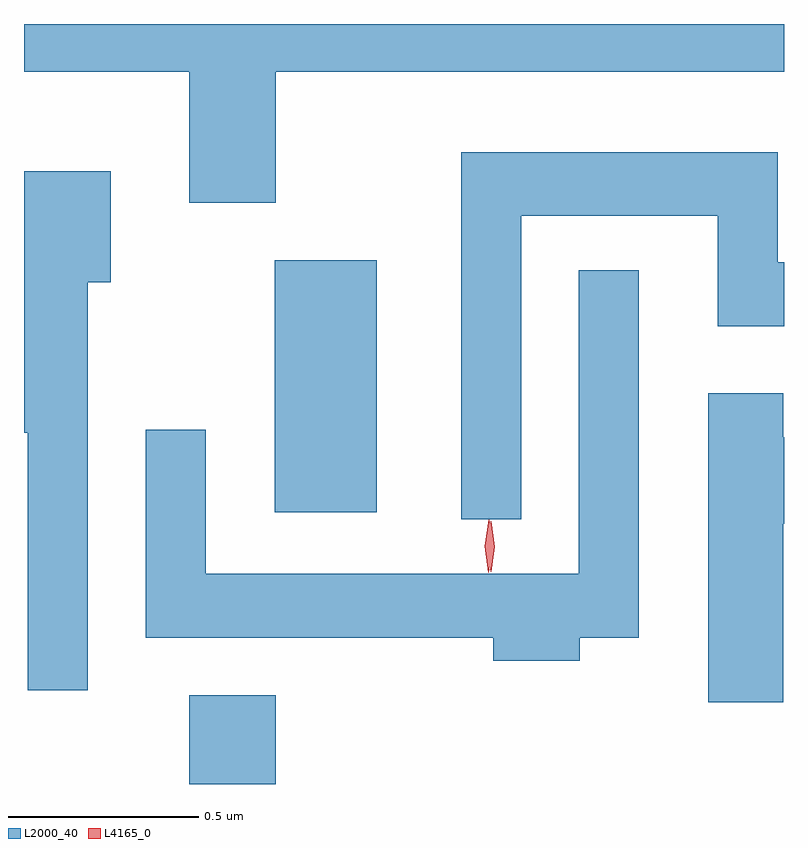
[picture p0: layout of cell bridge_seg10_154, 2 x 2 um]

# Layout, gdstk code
import gdstk
lib = gdstk.Library(unit=1e-6, precision=1e-09)
def R(c, l, rs):  # rectangles x0, y0, x1, y1
    for r in rs: c.add(gdstk.rectangle(r[:2], r[2:], *l))
def P(c, l, *ps):  # polygons
    for p in ps: c.add(gdstk.Polygon(p, *l))
L2000_40 = (2000, 40)
L4165_0 = (4165, 0)

bridge_seg10_154 = lib.new_cell('bridge_seg10_154')
R(bridge_seg10_154, L2000_40, [(1578.121,2134.241,1578.349,2134.474), (1578.346,2134.956,1578.614,2135.619)])
P(bridge_seg10_154, L2000_40, [(1578.349,2136.116),(1579.686,2136.116),(1579.686,2136.241),(1577.686,2136.241),(1577.686,2136.116),(1578.121,2136.116),(1578.121,2135.771),(1578.349,2135.771)],
  [(1578.994,2135.736),(1579.511,2135.736),(1579.511,2135.446),(1579.686,2135.446),(1579.686,2135.614),(1579.669,2135.614),(1579.669,2135.904),(1578.836,2135.904),(1578.836,2134.938),(1578.994,2134.938)],
  [(1577.854,2135.561),(1577.914,2135.561),(1577.914,2135.854),(1577.686,2135.854),(1577.686,2135.166),(1577.696,2135.166),(1577.696,2134.488),(1577.854,2134.488)],
  [(1579.149,2134.626),(1579.304,2134.626),(1579.304,2135.593),(1579.146,2135.593),(1579.146,2134.794),(1578.164,2134.794),(1578.164,2135.173),(1578.006,2135.173),(1578.006,2134.626),(1578.921,2134.626),(1578.921,2134.566),(1579.149,2134.566)],
  [(1579.684,2134.926),(1579.686,2134.926),(1579.686,2135.154),(1579.684,2135.154),(1579.684,2135.269),(1579.486,2135.269),(1579.486,2134.456),(1579.684,2134.456)])
P(bridge_seg10_154, L4165_0, [(1578.915,2134.799),(1578.914,2134.8),(1578.905,2134.866),(1578.914,2134.932),(1578.915,2134.933),(1578.916,2134.932),(1578.925,2134.866),(1578.916,2134.8)],
  [(1578.909,2134.797),(1578.908,2134.798),(1578.899,2134.867),(1578.909,2134.936),(1578.909,2134.936),(1578.91,2134.936),(1578.919,2134.867),(1578.909,2134.798)])

lib.write_gds('bridge_seg10_154.gds')
